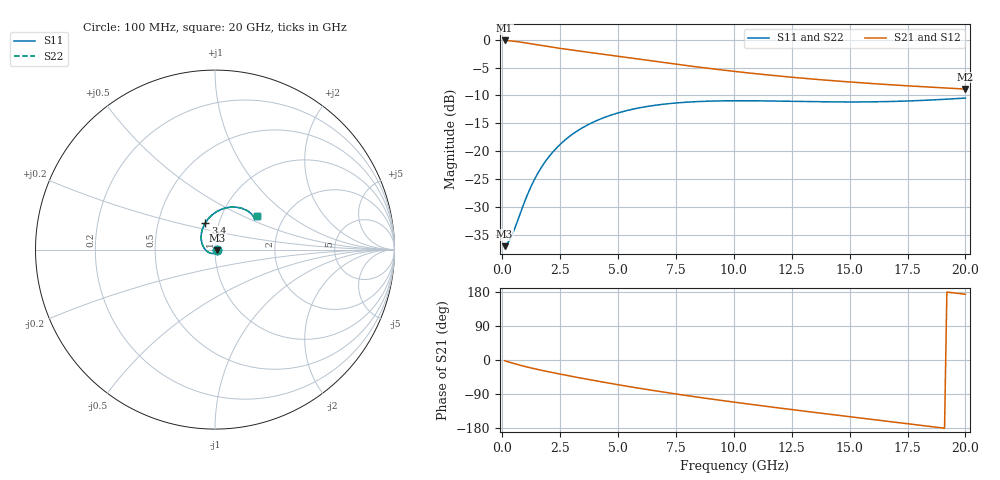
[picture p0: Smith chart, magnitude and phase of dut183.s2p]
! Touchstone file exported from HFSS 2023.1.0
!  File:  D:/Users/fzz/RDL_TSV/temp_RDL_TSV_183_1778755153.aedt
!  Generated:  6:47:44 %x4E0B%x5348  5%x6708 14, 2026
!  Design:  RDL_TSV
!  Project:  temp_RDL_TSV_183_1778755153
!  Setup:  Setup1
!  Solution:  Sweep
! Variables:
!  dtsv = 21.52um
!  hbump = 3um
!  htsv = 55.43um
!  ldown = 353.56um
!  lrdl = 362.6um
!  p = 40
!  p1 = 57.47um
!  rhole = 10um
!  subl = 2511.08um
!  t = 450um
!  tdown = 2.04um
!  trdl = 4.78um
!  viad = 10um
!  wdown = 21.76um
!  wrdl = 20.63um
!  xbump = 18um
# GHz S MA R 50.000000
! Terminal data exported
! Port[1] = TM1_1_T1
! Port[2] = TM1_4_T1
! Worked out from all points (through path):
!   200 points, 100 MHz to 20 GHz, reference 50 ohm
!   highest |S21| = -0.13 dB at 100 MHz (marker M1); lowest = -8.9 dB at 20 GHz (marker M2)
!   group delay of S21, straight-line fit = 24.4 ps
!   lowest |S11| = -37.0 dB at 100 MHz (marker M3), VSWR 1.03, Z = 51.4 - j0.45 ohm
!   |S11| at or under -10 dB: start of sweep to end of sweep
!   |S22| runs from -37.0 to -10.5 dB; largest |S21 - S12| = 2.8e-14
!   S11 on the Smith chart (normalised r, x): 100 MHz: 1.03, -0.01; 3.4 GHz: 0.86, +0.27; 20 GHz: 1.46, +0.61
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0.1  0.01406 -18.1  0.9853 -1.9  0.9853 -1.9  0.01406 -18.1
! Gamma 0 0 0 0
! Port Impedance 50 0 50 0
0.2  0.0147 -36.5  0.983 -3.8  0.983 -3.8  0.01471 -36.5
0.4  0.01732 -72.8  0.9751 -7.5  0.9751 -7.5  0.01732 -72.8
0.8  0.02855 -131.5  0.9511 -14.3  0.9511 -14.3  0.02855 -131.5
1.2  0.04617 -168.9  0.9223 -20.4  0.9223 -20.4  0.04618 -168.9
1.4  0.05631 177.6  0.9077 -23.2  0.9077 -23.2  0.05631 177.6
1.7  0.07226 161.3  0.8867 -27.3  0.8867 -27.3  0.07228 161.3
2.1  0.09394 144.5  0.8606 -32.4  0.8606 -32.4  0.09396 144.5
2.5  0.1152 131.3  0.8367 -37.3  0.8367 -37.3  0.1153 131.3
3.4  0.1595 109.4  0.7881 -47.8  0.7881 -47.8  0.1595 109.4
3.5  0.164 107.4  0.783 -48.9  0.783 -48.9  0.1641 107.4
4.2  0.193 95.1  0.7481 -56.7  0.7481 -56.7  0.1931 95.1
5  0.2205 83.7  0.7099 -65.3  0.7099 -65.3  0.2207 83.7
5.9  0.2444 73.3  0.6691 -74.4  0.6691 -74.4  0.2447 73.3
6.8  0.2615 64.8  0.6309 -83.2  0.6309 -83.2  0.2619 64.8
8.4  0.2785 53.3  0.5707 -97.7  0.5707 -97.7  0.279 53.3
10.1  0.2836 45.0  0.5179 -112.0  0.5179 -112.0  0.2842 44.9
11.7  0.282 40.2  0.4779 -124.7  0.4779 -124.7  0.2826 40.1
13.4  0.2783 37.6  0.4439 -137.7  0.4439 -137.7  0.279 37.4
15  0.2765 36.9  0.418 -149.7  0.418 -149.7  0.2771 36.7
16.7  0.2789 37.5  0.3954 -162.3  0.3954 -162.3  0.2794 37.1
20  0.2997 39.2  0.361 173.4  0.361 173.4  0.2997 38.8
